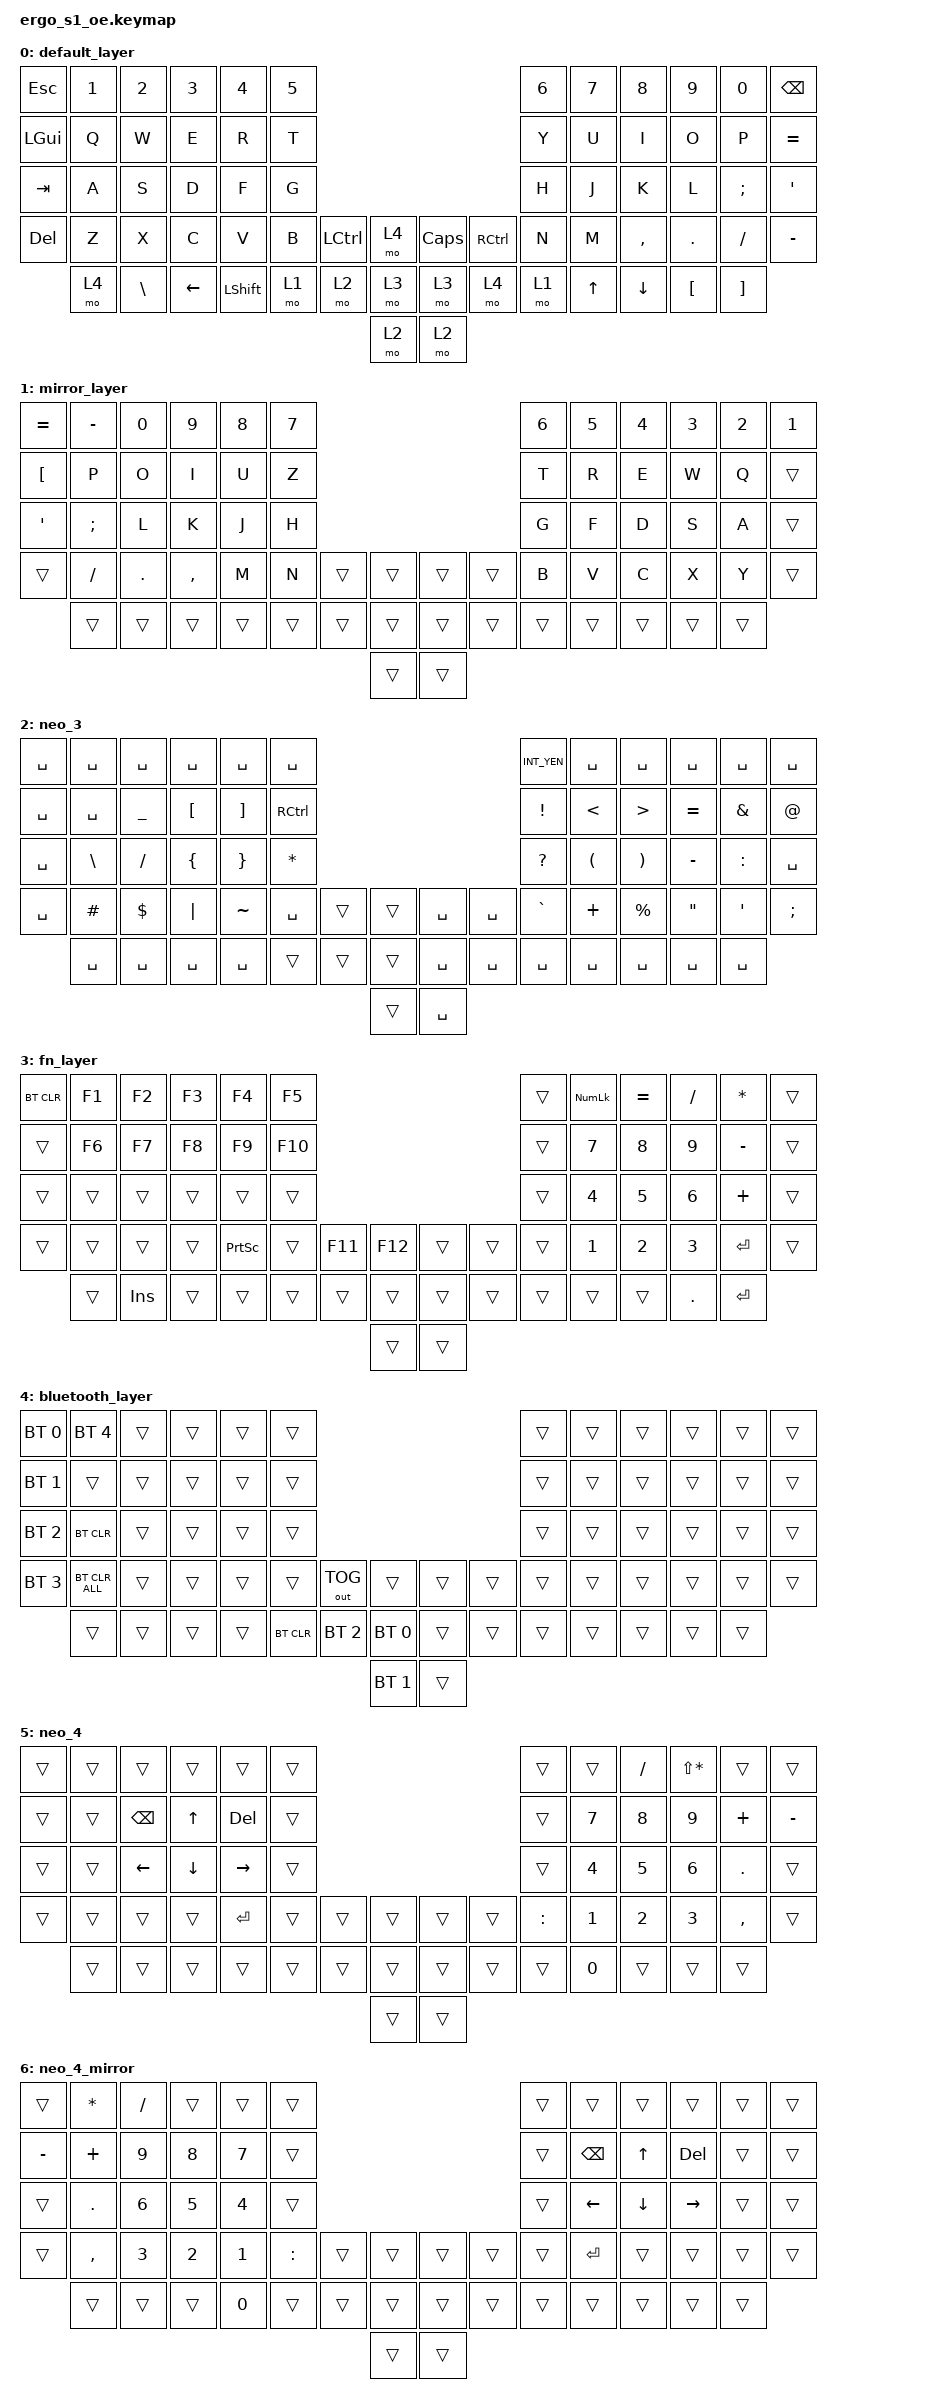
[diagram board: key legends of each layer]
/*
 * Copyright (c) 2021 The ZMK Contributors
 *
 * SPDX-License-Identifier: MIT
 */

#include <behaviors.dtsi>
#include <dt-bindings/zmk/bt.h>
#include <dt-bindings/zmk/keys.h>
#include <dt-bindings/zmk/outputs.h>

/ {
    combos {
        compatible = "zmk,combos";

        backspace {
            bindings = <&kp BACKSPACE>;
            key-positions = <28 15>;
        };
    };

    keymap {
        compatible = "zmk,keymap";

        default_layer {
            bindings = <
&kp ESC   &kp N1  &kp N2    &kp N3    &kp N4     &kp N5                                           &kp N6  &kp N7  &kp N8     &kp N9      &kp N0     &kp BSPC
&kp LGUI  &kp Q   &kp W     &kp E     &kp R      &kp T                                            &kp Y   &kp U   &kp I      &kp O       &kp P      &kp EQUAL
&kp TAB   &kp A   &kp S     &kp D     &kp F      &kp G                                            &kp H   &kp J   &kp K      &kp L       &kp SEMI   &kp SQT
&kp DEL   &kp Z   &kp X     &kp C     &kp V      &kp B   &kp LCTRL  &mo 4    &kp CAPS  &kp RCTRL  &kp N   &kp M   &kp COMMA  &kp PERIOD  &kp SLASH  &kp MINUS
          &mo 4   &kp BSLH  &kp LEFT  &kp LSHFT  &mo 1   &mo 2      &mo 3    &mo 3     &mo 4      &mo 1   &kp UP  &kp DOWN   &kp LBKT    &kp RBKT
                                                                    &mo 2    &mo 2
            >;
        };

        mirror_layer {
            bindings = <
&kp EQUAL  &kp MINUS  &kp N0   &kp N9     &kp N8  &kp N7                                    &kp N6  &kp N5  &kp N4  &kp N3  &kp N2  &kp N1
&kp LBKT   &kp P      &kp O    &kp I      &kp U   &kp Z                                     &kp T   &kp R   &kp E   &kp W   &kp Q   &trans
&kp APOS   &kp SEMI   &kp L    &kp K      &kp J   &kp H                                     &kp G   &kp F   &kp D   &kp S   &kp A   &trans
&trans     &kp FSLH   &kp DOT  &kp COMMA  &kp M   &kp N   &trans  &trans    &trans  &trans  &kp B   &kp V   &kp C   &kp X   &kp Y   &trans
           &trans     &trans   &trans     &trans  &trans  &trans  &trans    &trans  &trans  &trans  &trans  &trans  &trans  &trans
                                                                  &trans    &trans
            >;
        };

        neo_3 {
            bindings = <
&kp SPACE  &kp SPACE      &kp SPACE       &kp SPACE       &kp SPACE  &kp SPACE                                             &kp INT_YEN      &kp SPACE             &kp SPACE              &kp SPACE          &kp SPACE         &kp SPACE
&kp SPACE  &kp SPACE      &kp UNDERSCORE  &kp LBKT        &kp RBKT   &kp RCTRL                                             &kp EXCLAMATION  &kp LT                &kp GREATER_THAN       &kp EQUAL          &kp AMPERSAND     &kp AT_SIGN
&kp SPACE  &kp BACKSLASH  &kp SLASH       &kp LEFT_BRACE  &kp RBRC   &kp ASTERISK                                          &kp QUESTION     &kp LEFT_PARENTHESIS  &kp RIGHT_PARENTHESIS  &kp MINUS          &kp COLON         &kp SPACE
&kp SPACE  &kp HASH       &kp DOLLAR      &kp PIPE        &kp TILDE  &kp SPACE     &trans  &trans    &kp SPACE  &kp SPACE  &kp GRAVE        &kp PLUS              &kp PERCENT            &kp DOUBLE_QUOTES  &kp SINGLE_QUOTE  &kp SEMICOLON
           &kp SPACE      &kp SPACE       &kp SPACE       &kp SPACE  &trans        &trans  &trans    &kp SPACE  &kp SPACE  &kp SPACE        &kp SPACE             &kp SPACE              &kp SPACE          &kp SPACE
                                                                                           &trans    &kp SPACE
            >;
        };

        fn_layer {
            bindings = <
&bt BT_CLR  &kp F1  &kp F2   &kp F3  &kp F4     &kp F5                                       &trans  &kp KP_NUM  &kp EQL  &kp SLASH  &kp STAR   &trans
&trans      &kp F6  &kp F7   &kp F8  &kp F9     &kp F10                                      &trans  &kp N7      &kp N8   &kp N9     &kp MINUS  &trans
&trans      &trans  &trans   &trans  &trans     &trans                                       &trans  &kp N4      &kp N5   &kp N6     &kp PLUS   &trans
&trans      &trans  &trans   &trans  &kp PSCRN  &trans   &kp F11  &kp F12    &trans  &trans  &trans  &kp N1      &kp N2   &kp N3     &kp ENTER  &trans
            &trans  &kp INS  &trans  &trans     &trans   &trans   &trans     &trans  &trans  &trans  &trans      &trans   &kp DOT    &kp ENTER
                                                                  &trans     &trans
            >;
        };

        bluetooth_layer {
            bindings = <
&bt BT_SEL 0  &bt BT_SEL 4    &trans  &trans  &trans  &trans                                                    &trans  &trans  &trans  &trans  &trans  &trans
&bt BT_SEL 1  &trans          &trans  &trans  &trans  &trans                                                    &trans  &trans  &trans  &trans  &trans  &trans
&bt BT_SEL 2  &bt BT_CLR      &trans  &trans  &trans  &trans                                                    &trans  &trans  &trans  &trans  &trans  &trans
&bt BT_SEL 3  &bt BT_CLR_ALL  &trans  &trans  &trans  &trans      &out OUT_TOG  &trans          &trans  &trans  &trans  &trans  &trans  &trans  &trans  &trans
              &trans          &trans  &trans  &trans  &bt BT_CLR  &bt BT_SEL 2  &bt BT_SEL 0    &trans  &trans  &trans  &trans  &trans  &trans  &trans
                                                                                &bt BT_SEL 1    &trans
            >;
        };

        neo_4 {
            bindings = <
&trans  &trans  &trans    &trans    &trans     &trans                                    &trans     &trans  &kp FSLH  &kp LS(STAR)  &trans     &trans
&trans  &trans  &kp BSPC  &kp UP    &kp DEL    &trans                                    &trans     &kp N7  &kp N8    &kp N9        &kp PLUS   &kp MINUS
&trans  &trans  &kp LEFT  &kp DOWN  &kp RIGHT  &trans                                    &trans     &kp N4  &kp N5    &kp N6        &kp DOT    &trans
&trans  &trans  &trans    &trans    &kp RET    &trans  &trans  &trans    &trans  &trans  &kp COLON  &kp N1  &kp N2    &kp N3        &kp COMMA  &trans
        &trans  &trans    &trans    &trans     &trans  &trans  &trans    &trans  &trans  &trans     &kp N0  &trans    &trans        &trans
                                                               &trans    &trans
            >;
        };

        neo_4_mirror {
            bindings = <
&trans     &kp ASTERISK  &kp FSLH  &trans  &trans  &trans                                       &trans  &trans    &trans    &trans     &trans  &trans
&kp MINUS  &kp PLUS      &kp N9    &kp N8  &kp N7  &trans                                       &trans  &kp BSPC  &kp UP    &kp DEL    &trans  &trans
&trans     &kp DOT       &kp N6    &kp N5  &kp N4  &trans                                       &trans  &kp LEFT  &kp DOWN  &kp RIGHT  &trans  &trans
&trans     &kp COMMA     &kp N3    &kp N2  &kp N1  &kp COLON  &trans  &trans    &trans  &trans  &trans  &kp RET   &trans    &trans     &trans  &trans
           &trans        &trans    &trans  &kp N0  &trans     &trans  &trans    &trans  &trans  &trans  &trans    &trans    &trans     &trans
                                                                      &trans    &trans
            >;
        };
    };
};
